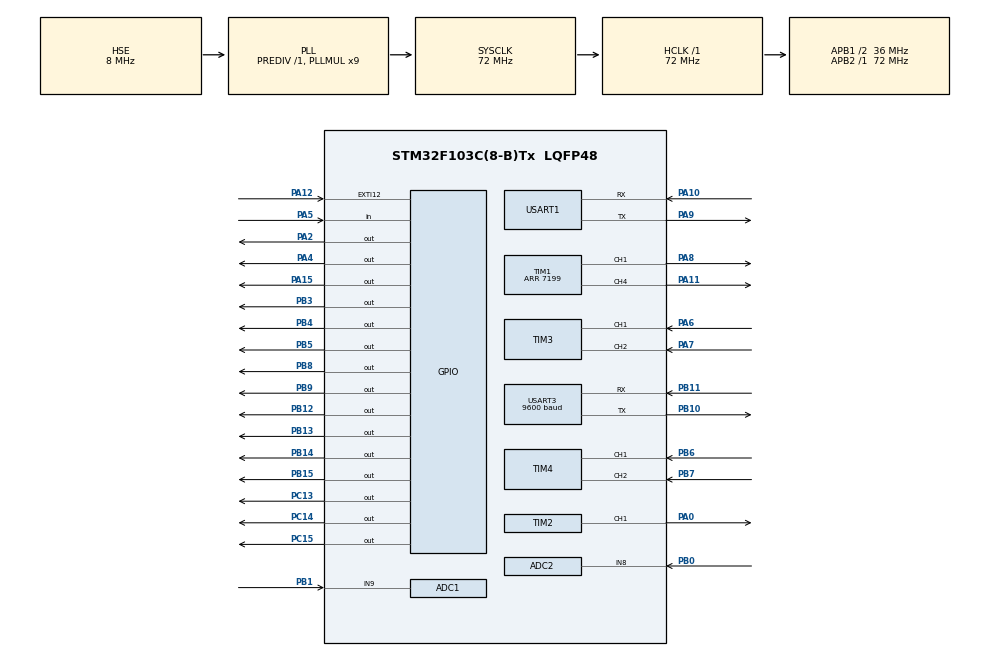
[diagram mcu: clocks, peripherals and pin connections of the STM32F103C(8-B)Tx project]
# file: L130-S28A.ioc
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ADC1.Channel-1\#ChannelRegularConversion=ADC_CHANNEL_9
ADC1.NbrOfConversionFlag=1
ADC1.Rank-1\#ChannelRegularConversion=1
ADC1.SamplingTime-1\#ChannelRegularConversion=ADC_SAMPLETIME_1CYCLE_5
ADC1.master=1
ADC2.Channel-0\#ChannelRegularConversion=ADC_CHANNEL_8
ADC2.NbrOfConversionFlag=1
ADC2.Rank-0\#ChannelRegularConversion=1
ADC2.SamplingTime-0\#ChannelRegularConversion=ADC_SAMPLETIME_1CYCLE_5
Mcu.Family=STM32F1
Mcu.Name=STM32F103C(8-B)Tx
Mcu.Package=LQFP48
NVIC.EXTI15_10_IRQn=true\:0\:0\:false\:false\:true\:true\:true
NVIC.PriorityGroup=NVIC_PRIORITYGROUP_4
NVIC.TIM3_IRQn=true\:0\:0\:false\:false\:true\:true\:true
NVIC.TIM4_IRQn=true\:0\:0\:false\:false\:true\:true\:true
NVIC.USART1_IRQn=true\:0\:0\:false\:false\:true\:true\:true
NVIC.USART3_IRQn=true\:0\:0\:false\:false\:true\:true\:true
PA0-WKUP.Signal=S_TIM2_CH1_ETR
PA10.Mode=Asynchronous
PA10.Signal=USART1_RX
PA11.Signal=S_TIM1_CH4
PA12.Signal=GPXTI12
PA15.Signal=GPIO_Output
PA2.Signal=GPIO_Output
PA4.Signal=GPIO_Output
PA5.Signal=GPIO_Input
PA6.Signal=S_TIM3_CH1
PA7.Signal=S_TIM3_CH2
PA8.Signal=S_TIM1_CH1
PA9.Mode=Asynchronous
PA9.Signal=USART1_TX
PB0.Signal=ADCx_IN8
PB1.Signal=ADCx_IN9
PB10.Mode=Asynchronous
PB10.Signal=USART3_TX
PB11.Mode=Asynchronous
PB11.Signal=USART3_RX
PB12.Signal=GPIO_Output
PB13.Signal=GPIO_Output
PB14.Signal=GPIO_Output
PB15.Signal=GPIO_Output
PB3.Signal=GPIO_Output
PB4.Signal=GPIO_Output
PB5.Signal=GPIO_Output
PB6.Signal=S_TIM4_CH1
PB7.Signal=S_TIM4_CH2
PB8.Signal=GPIO_Output
PB9.Signal=GPIO_Output
PC13-TAMPER-RTC.Signal=GPIO_Output
PC14-OSC32_IN.Signal=GPIO_Output
PC15-OSC32_OUT.Signal=GPIO_Output
PD0-OSC_IN.Mode=HSE-External-Oscillator
PD0-OSC_IN.Signal=RCC_OSC_IN
PD1-OSC_OUT.Mode=HSE-External-Oscillator
PD1-OSC_OUT.Signal=RCC_OSC_OUT
ProjectManager.HeapSize=0x200
ProjectManager.StackSize=0x400
ProjectManager.TargetToolchain=MDK-ARM V5.32
RCC.ADCPresc=RCC_ADCPCLK2_DIV6
RCC.AHBFreq_Value=72000000
RCC.APB1CLKDivider=RCC_HCLK_DIV2
RCC.APB1Freq_Value=36000000
RCC.APB1TimFreq_Value=72000000
RCC.APB2Freq_Value=72000000
RCC.APB2TimFreq_Value=72000000
RCC.HCLKFreq_Value=72000000
RCC.PLLMUL=RCC_PLL_MUL9
RCC.PLLSourceVirtual=RCC_PLLSOURCE_HSE
RCC.SYSCLKFreq_VALUE=72000000
RCC.SYSCLKSource=RCC_SYSCLKSOURCE_PLLCLK
RCC.USBFreq_Value=72000000
SH.ADCx_IN8.0=ADC2_IN8,IN8
SH.ADCx_IN9.0=ADC1_IN9,IN9
SH.S_TIM1_CH1.0=TIM1_CH1,PWM Generation1 CH1
SH.S_TIM1_CH4.0=TIM1_CH4,PWM Generation4 CH4
SH.S_TIM2_CH1_ETR.0=TIM2_CH1,PWM Generation1 CH1
SH.S_TIM3_CH1.0=TIM3_CH1,Encoder_Interface
SH.S_TIM3_CH2.0=TIM3_CH2,Encoder_Interface
SH.S_TIM4_CH1.0=TIM4_CH1,Encoder_Interface
SH.S_TIM4_CH2.0=TIM4_CH2,Encoder_Interface
TIM1.AutoReloadPreload=TIM_AUTORELOAD_PRELOAD_ENABLE
TIM1.Channel-PWM\ Generation1\ CH1=TIM_CHANNEL_1
TIM1.Channel-PWM\ Generation4\ CH4=TIM_CHANNEL_4
TIM1.Period=7199
TIM2.AutoReloadPreload=TIM_AUTORELOAD_PRELOAD_ENABLE
TIM2.Channel-PWM\ Generation1\ CH1=TIM_CHANNEL_1
TIM2.Period=9999
TIM2.Prescaler=71
TIM3.EncoderMode=TIM_ENCODERMODE_TI12
TIM4.EncoderMode=TIM_ENCODERMODE_TI12
USART1.VirtualMode=VM_ASYNC
USART3.BaudRate=9600
USART3.VirtualMode=VM_ASYNC
VP_SYS_VS_ND.Mode=No_Debug
board=custom

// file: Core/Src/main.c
/* USER CODE BEGIN Header */
/**
  ******************************************************************************
  * @file           : main.c
  * @brief          : Main program body
  ******************************************************************************
  * @attention
  *
  * <h2><center>&copy; Copyright (c) 2023 STMicroelectronics.
  * All rights reserved.</center></h2>
  *
  * This software component is licensed by ST under BSD 3-Clause license,
  * the "License"; You may not use this file except in compliance with the
  * License. You may obtain a copy of the License at:
  *                        opensource.org/licenses/BSD-3-Clause
  *
  ******************************************************************************
  */
/* USER CODE END Header */
#include "main.h"
#include "adc.h"
#include "tim.h"
#include "usart.h"
#include "gpio.h"

/* USER CODE BEGIN Includes */
#include "sys.h"
/* USER CODE END Includes */

void SystemClock_Config(void);

/* USER CODE BEGIN 0 */
u8 Mode=0,BLUETOOTH_Mode=1,ELE_Line_Patrol_Mode=0,CCD_Line_Patrol_Mode=0,PS2_Mode=0,PS2_Flag=0,APP_RX,APP_Flag;      //小车的模式,蓝牙遥控、CCD巡线、ELE巡线
u8 Flag_Way=0,Flag_Show=0,Flag_Stop=1,Flag_Next;       //停止标志位和 显示标志位 默认停止 显示打开
int Encoder_Left,Encoder_Right;                        //左右编码器的脉冲计数
int Flag_Direction;
float Velocity,Velocity_Set,Angle_Set,Turn;
int Motor_A,Motor_B,Servo,Target_A,Target_B;           //电机舵机控制相关
int Voltage;                                           //电池电压采样相关的变量
float Show_Data_Mb;                                    //全局显示变量，用于显示需要查看的数据
u8 Delay_50,Delay_Flag; 							   //延时变量
float Velocity_KP=15,Velocity_KI=7;	       //速度控制PID参数
u16 ADV[128]={0};
int PS2_LX,PS2_LY,PS2_RX,PS2_RY,PS2_KEY;
float Bluetooth_Velocity=30,PS2_Velocity=30,PS2_Turn_Velocity=0;                        //蓝牙遥控速度和APP接收的数据
u8 CCD_Zhongzhi,CCD_Yuzhi,PID_Send,Flash_Send;          //线性CCD FLASH相关
int Sensor_Left,Sensor_Middle,Sensor_Right,Sensor;      //电磁巡线相关
u16 PID_Parameter[10],Flash_Parameter[10];              //Flash相关数组
/* USER CODE END 0 */

int main(void)
{

  /* MCU Configuration--------------------------------------------------------*/

  /* Reset of all peripherals, Initializes the Flash interface and the Systick. */
  HAL_Init();

  /* Configure the system clock */
  SystemClock_Config();

  /* Initialize all configured peripherals */
  MX_GPIO_Init();
  MX_ADC1_Init();
  MX_ADC2_Init();
  MX_TIM1_Init();
  MX_TIM3_Init();
  MX_TIM4_Init();
  MX_USART1_UART_Init();
  MX_USART3_UART_Init();
  /* USER CODE BEGIN 2 */
  JTAG_Set(JTAG_SWD_DISABLE);     //关闭JTAG接口
  delay_init(72);
  OLED_Init();
  while(select())	{	}	        //=====选择运行模式
  delay_ms(300);
  if(CCD_Line_Patrol_Mode) CCD_Init();      //=====CCD初始化
  else if(ELE_Line_Patrol_Mode) ELE_Init(); //=====电磁传感器初始化
  else if(PS2_Mode){PS2_Init();PS2_SetInit(); }
  Flash_Read();	                //=====读取PID参数
  // 清除定时器初始化过程中的更新中断标志，避免定时器一启动就中断
//  HAL_NVIC_EnableIRQ(EXTI15_10_IRQn); //开启引脚外部中断
   MX_TIM2_Init();;   		//=====如果是舵机小车初始化PWM100HZ驱动舵机和10ms中断
  /* USER CODE END 2 */

  /* Infinite loop */
  while (1)
  {
      if(Flash_Send==1)         //写入PID参数到Flash,由app控制该指令
		{
            Flash_Write();
			 Flash_Send=0;
		}
	  if(Flag_Show==0)         //使用MiniBalance APP和OLED显示屏
	  {
  			APP_Show();
			oled_show();     //===显示屏打开
		    PS2_Read();
		}
	  else                     //使用MiniBalance上位机 上位机使用的时候需要严格的时序，故此时关闭app监控部分和OLED显示屏
	  {
	       DataScope();           //开启MiniBalance上位机
		}
//	  Delay_Flag=1;
//	  Delay_50=0;
//	  while(Delay_Flag);	     //上位机通过定时中断实现的50ms精准延时
  }
}

void SystemClock_Config(void)
{
  RCC_OscInitTypeDef RCC_OscInitStruct = {0};
  RCC_ClkInitTypeDef RCC_ClkInitStruct = {0};
  RCC_PeriphCLKInitTypeDef PeriphClkInit = {0};

  /** Initializes the RCC Oscillators according to the specified parameters
  * in the RCC_OscInitTypeDef structure.
  */
  RCC_OscInitStruct.OscillatorType = RCC_OSCILLATORTYPE_HSE;
  RCC_OscInitStruct.HSEState = RCC_HSE_ON;
  RCC_OscInitStruct.HSEPredivValue = RCC_HSE_PREDIV_DIV1;
  RCC_OscInitStruct.HSIState = RCC_HSI_ON;
  RCC_OscInitStruct.PLL.PLLState = RCC_PLL_ON;
  RCC_OscInitStruct.PLL.PLLSource = RCC_PLLSOURCE_HSE;
  RCC_OscInitStruct.PLL.PLLMUL = RCC_PLL_MUL9;
  if (HAL_RCC_OscConfig(&RCC_OscInitStruct) != HAL_OK)
  {
    Error_Handler();
  }
  /** Initializes the CPU, AHB and APB buses clocks
  */
  RCC_ClkInitStruct.ClockType = RCC_CLOCKTYPE_HCLK|RCC_CLOCKTYPE_SYSCLK
                              |RCC_CLOCKTYPE_PCLK1|RCC_CLOCKTYPE_PCLK2;
  RCC_ClkInitStruct.SYSCLKSource = RCC_SYSCLKSOURCE_PLLCLK;
  RCC_ClkInitStruct.AHBCLKDivider = RCC_SYSCLK_DIV1;
  RCC_ClkInitStruct.APB1CLKDivider = RCC_HCLK_DIV2;
  RCC_ClkInitStruct.APB2CLKDivider = RCC_HCLK_DIV1;

  if (HAL_RCC_ClockConfig(&RCC_ClkInitStruct, FLASH_LATENCY_2) != HAL_OK)
  {
    Error_Handler();
  }
  PeriphClkInit.PeriphClockSelection = RCC_PERIPHCLK_ADC;
  PeriphClkInit.AdcClockSelection = RCC_ADCPCLK2_DIV6;
  if (HAL_RCCEx_PeriphCLKConfig(&PeriphClkInit) != HAL_OK)
  {
    Error_Handler();
  }
}

void Error_Handler(void)
{
  __disable_irq();
  while (1)
  {
  }
}

/************************ (C) COPYRIGHT STMicroelectronics *****END OF FILE****/
